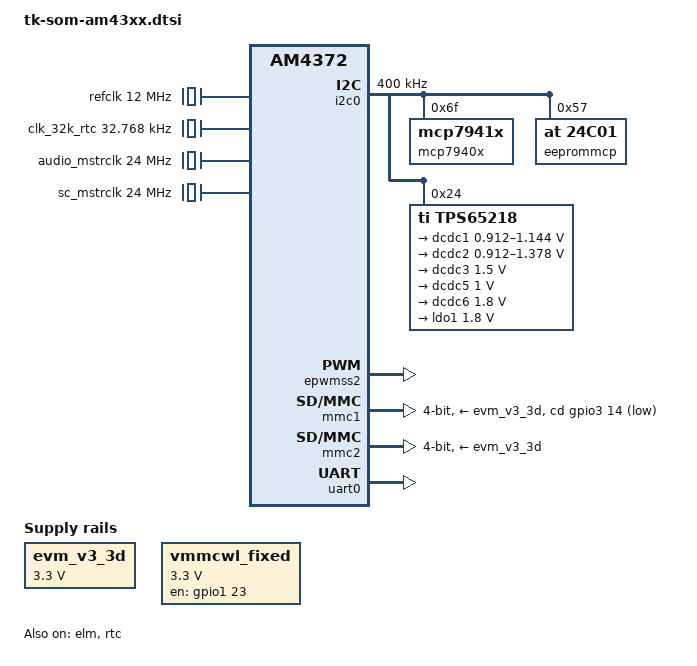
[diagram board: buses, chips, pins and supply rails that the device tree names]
/*
 * Copyright (C) 2018 Technokom Incorporated - http://www.tk-nav.ru
 *
 * This program is free software; you redistribute it and/or modify
 * it under the terms of the GNU General Public License version 2 as
 * published by the Free Software Foundation.
 */

/* TK SOM AM43xx */

#include "am4372.dtsi"
#include <dt-bindings/pinctrl/am43xx.h>
#include <dt-bindings/pwm/pwm.h>
#include <dt-bindings/gpio/gpio.h>
#include <dt-bindings/input/input.h>

/ {

	evm_v3_3d: fixedregulator-v3_3d {
		compatible = "regulator-fixed";
		regulator-name = "evm_v3_3d";
		regulator-min-microvolt = <3300000>;
		regulator-max-microvolt = <3300000>;
		enable-active-high;
	};


	vmmcwl_fixed: fixedregulator-mmcwl {
		compatible = "regulator-fixed";
		regulator-name = "vmmcwl_fixed";
		regulator-min-microvolt = <3300000>;
		regulator-max-microvolt = <3300000>;
		gpio = <&gpio1 23 GPIO_ACTIVE_HIGH>;
		enable-active-high;
	};

	/* fixed 12MHz oscillator */
	refclk: oscillator {
		#clock-cells = <0>;
		compatible = "fixed-clock";
		clock-frequency = <12000000>;
	};

	/* fixed 32k external oscillator clock */
	clk_32k_rtc: clk_32k_rtc {
		#clock-cells = <0>;
		compatible = "fixed-clock";
		clock-frequency = <32768>;
	};

	audio_mstrclk: mclk_osc {
		compatible = "fixed-clock";
		#clock-cells = <0>;
		clock-frequency = <24000000>;
	};

	sc_mstrclk: mclk_osc {
		compatible = "fixed-clock";
		#clock-cells = <0>;
		clock-frequency = <24000000>;
	};

};

&am43xx_pinmux {
	pinctrl-names = "default", "sleep";

	i2c0_pins: i2c0_pins {
		pinctrl-single,pins = <
			AM4372_IOPAD(0x988, PIN_INPUT_PULLUP | SLEWCTRL_FAST | MUX_MODE0)  /* i2c0_sda.i2c0_sda */
			AM4372_IOPAD(0x98c, PIN_INPUT_PULLUP | SLEWCTRL_FAST | MUX_MODE0)  /* i2c0_scl.i2c0_scl */
		>;
	};

	mmc0_pins: pinmux_mmc0_pins {
		pinctrl-single,pins = <
			AM4372_IOPAD(0x900, PIN_INPUT_PULLUP | MUX_MODE0) /* mmc0_clk.mmc0_clk */
			AM4372_IOPAD(0x904, PIN_INPUT_PULLUP | MUX_MODE0) /* mmc0_cmd.mmc0_cmd */
			AM4372_IOPAD(0x8f0, PIN_INPUT_PULLUP | MUX_MODE0) /* mmc0_dat0.mmc0_dat0 */
			AM4372_IOPAD(0x8f4, PIN_INPUT_PULLUP | MUX_MODE0) /* mmc0_dat1.mmc0_dat1 */
			AM4372_IOPAD(0x8f8, PIN_INPUT_PULLUP | MUX_MODE0) /* mmc0_dat2.mmc0_dat2 */
			AM4372_IOPAD(0x8fc, PIN_INPUT_PULLUP | MUX_MODE0) /* mmc0_dat3.mmc0_dat3 */
			AM4372_IOPAD(0x990, PIN_INPUT | MUX_MODE7) 
		>;
	};

	mmc0_sleep_pins: pinmux_mmc0_sleep_pins {
		pinctrl-single,pins = <
			AM4372_IOPAD(0x900, PIN_INPUT_PULLDOWN | MUX_MODE7)
			AM4372_IOPAD(0x904, PIN_INPUT | PULL_DISABLE | MUX_MODE7)
			AM4372_IOPAD(0x8f0, PIN_INPUT | PULL_DISABLE | MUX_MODE7)
			AM4372_IOPAD(0x8f4, PIN_INPUT | PULL_DISABLE | MUX_MODE7)
			AM4372_IOPAD(0x8f8, PIN_INPUT | PULL_DISABLE | MUX_MODE7)
			AM4372_IOPAD(0x8fc, PIN_INPUT | PULL_DISABLE | MUX_MODE7)
			AM4372_IOPAD(0x990, PIN_INPUT | PULL_DISABLE | MUX_MODE7)
		>;
	};


	mmc1_pins_default: mmc1_pins_default {
		pinctrl-single,pins = <
		    AM4372_IOPAD(0x880, PIN_INPUT_PULLUP | MUX_MODE2 ) /* (B9) gpmc_csn1.mmc1_clk */
		    AM4372_IOPAD(0x884, PIN_INPUT_PULLUP | MUX_MODE2 ) /* (F10) gpmc_csn2.mmc1_cmd */
		    AM4372_IOPAD(0x820, PIN_INPUT_PULLUP | MUX_MODE2 ) /* (B10) gpmc_ad8.mmc1_dat0 */
		    AM4372_IOPAD(0x824, PIN_INPUT_PULLUP | MUX_MODE2 ) /* (A10) gpmc_ad9.mmc1_dat1 */
		    AM4372_IOPAD(0x828, PIN_INPUT_PULLUP | MUX_MODE2 ) /* (F11) gpmc_ad10.mmc1_dat2 */
		    AM4372_IOPAD(0x82c, PIN_INPUT_PULLUP | MUX_MODE2 ) /* (D11) gpmc_ad11.mmc1_dat3 */
		>;
	};

	mmc1_pins_sleep: mmc1_pins_sleep {
		pinctrl-single,pins = <
		    AM4372_IOPAD(0x880, PIN_INPUT_PULLDOWN | MUX_MODE7 ) /* (B9) gpmc_csn1.mmc1_clk */
		    AM4372_IOPAD(0x884, PIN_INPUT_PULLDOWN | MUX_MODE7 ) /* (F10) gpmc_csn2.mmc1_cmd */
		    AM4372_IOPAD(0x820, PIN_INPUT_PULLDOWN | MUX_MODE7 ) /* (B10) gpmc_ad8.mmc1_dat0 */
		    AM4372_IOPAD(0x824, PIN_INPUT_PULLDOWN | MUX_MODE7 ) /* (A10) gpmc_ad9.mmc1_dat1 */
		    AM4372_IOPAD(0x828, PIN_INPUT_PULLDOWN | MUX_MODE7 ) /* (F11) gpmc_ad10.mmc1_dat2 */
		    AM4372_IOPAD(0x82c, PIN_INPUT_PULLDOWN | MUX_MODE7 ) /* (D11) gpmc_ad11.mmc1_dat3 */
		>;
	};

	uart0_pins_default: uart0_pins_default {
		pinctrl-single,pins = <
			AM4372_IOPAD(0x970, PIN_INPUT_PULLUP | SLEWCTRL_FAST | DS0_PULL_UP_DOWN_EN | MUX_MODE0) /* uart0_rxd.uart0_rxd */
			AM4372_IOPAD(0x974, PIN_INPUT | PULL_DISABLE | SLEWCTRL_FAST | DS0_PULL_UP_DOWN_EN | MUX_MODE0) /* uart0_txd.uart0_txd */
		>;
	};

	uart0_pins_sleep: uart0_pins_sleep {
		pinctrl-single,pins = <
			AM4372_IOPAD(0x970, PIN_INPUT_PULLUP | SLEWCTRL_FAST | DS0_PULL_UP_DOWN_EN | MUX_MODE0) /* uart0_rxd.uart0_rxd */
			AM4372_IOPAD(0x974, PIN_INPUT_PULLDOWN | SLEWCTRL_FAST | DS0_PULL_UP_DOWN_EN | MUX_MODE0) /* uart0_txd.uart0_txd */
		>;
	};

};

&i2c0 {
	status = "okay";
	pinctrl-names = "default";
	pinctrl-0 = <&i2c0_pins>;
	clock-frequency = <400000>;
    
    mcp7940x: mcp7940x@6f {
		compatible = "mcp7941x";
		reg = <0x6f>;
    };

    eeprommcp: eeprommcp@57 {
        compatible = "at,24c01";
        reg = <0x57>;
        read-only;
        pagesize = <8>;
    };

	tps65218: tps65218@24 {
		reg = <0x24>;
		compatible = "ti,tps65218";
		interrupts = <GIC_SPI 7 IRQ_TYPE_NONE>; /* NMIn */
		interrupt-controller;
		#interrupt-cells = <2>;

		dcdc1: regulator-dcdc1 {
			compatible = "ti,tps65218-dcdc1";
			regulator-name = "vdd_core";
			regulator-min-microvolt = <912000>;
			regulator-max-microvolt = <1144000>;
			regulator-boot-on;
			regulator-always-on;
		};

		dcdc2: regulator-dcdc2 {
			compatible = "ti,tps65218-dcdc2";
			regulator-name = "vdd_mpu";
			regulator-min-microvolt = <912000>;
			regulator-max-microvolt = <1378000>;
			regulator-boot-on;
			regulator-always-on;
		};

		dcdc3: regulator-dcdc3 {
			compatible = "ti,tps65218-dcdc3";
			regulator-name = "vdcdc3";
			regulator-min-microvolt = <1500000>;
			regulator-max-microvolt = <1500000>;
			regulator-boot-on;
			regulator-always-on;
			regulator-state-mem {
				regulator-on-in-suspend;
			};
			regulator-state-disk {
				regulator-off-in-suspend;
			};
		};

		dcdc5: regulator-dcdc5 {
			compatible = "ti,tps65218-dcdc5";
			regulator-name = "v1_0bat";
			regulator-min-microvolt = <1000000>;
			regulator-max-microvolt = <1000000>;
			regulator-boot-on;
			regulator-always-on;
			regulator-state-mem {
				regulator-on-in-suspend;
			};
		};

		dcdc6: regulator-dcdc6 {
			compatible = "ti,tps65218-dcdc6";
			regulator-name = "v1_8bat";
			regulator-min-microvolt = <1800000>;
			regulator-max-microvolt = <1800000>;
			regulator-boot-on;
			regulator-always-on;
			regulator-state-mem {
				regulator-on-in-suspend;
			};
		};

		ldo1: regulator-ldo1 {
			compatible = "ti,tps65218-ldo1";
			regulator-min-microvolt = <1800000>;
			regulator-max-microvolt = <1800000>;
			regulator-boot-on;
			regulator-always-on;
		};
	};

};


&epwmss2	 {
	status = "okay";
};

&gpio0 {
	status = "okay";
};

&gpio1 {
	status = "okay";
};

&gpio2 {
	status = "okay";
};

&gpio3 {
	status = "okay";
};

&gpio4 {
	status = "okay";
};

&gpio5 {
	status = "okay";
};

&mmc1 {
	status = "okay";
	vmmc-supply = <&evm_v3_3d>;
	bus-width = <4>;
	pinctrl-names = "default", "sleep";
	pinctrl-0 = <&mmc0_pins>;
	pinctrl-1 = <&mmc0_sleep_pins>;
	cd-gpios = <&gpio3 14 GPIO_ACTIVE_LOW>;
};

&mmc2 {
	status = "ok";
	bus-width = <4>;
	vmmc-supply = <&evm_v3_3d>;
	pinctrl-names = "default";
	pinctrl-0 = <&mmc1_pins_default>;
	ti,non-removable;
};

&elm {
	status = "okay";
};


&uart0 {
	status = "okay";
	pinctrl-names = "default", "sleep";
	pinctrl-0 = <&uart0_pins_default>;
	pinctrl-1 = <&uart0_pins_sleep>;
};


&rtc {
	clocks = <&clk_32k_rtc>, <&clk_32768_ck>;
	clock-names = "ext-clk", "int-clk";
	status = "okay";
};

&wkup_m3_ipc {
	ti,set-io-isolation;
	ti,scale-data-fw = "am43x-evm-scale-data.bin";
};

&cpu {
	cpu0-supply = <&dcdc2>;
};
